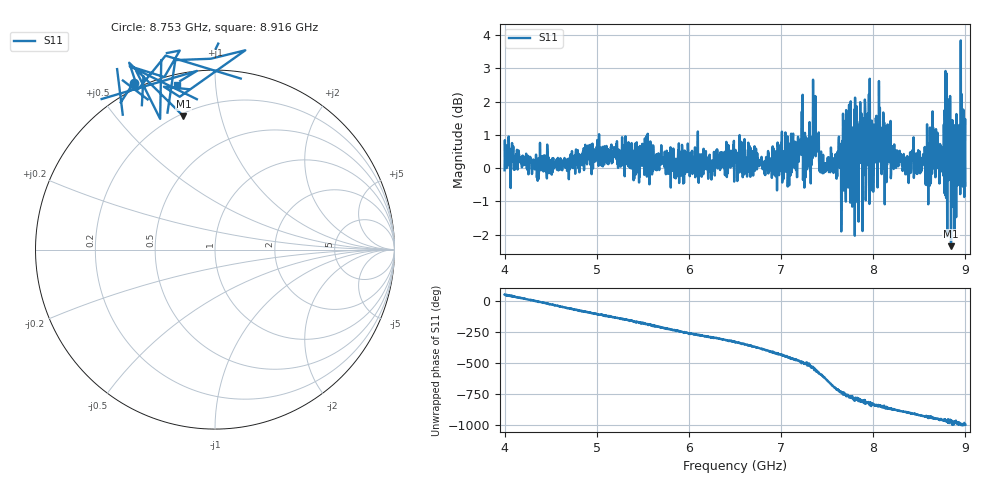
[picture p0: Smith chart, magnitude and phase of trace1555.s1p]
! Created with skrf 1.8.0 (http://scikit-rf.org).
# Hz S RI R 50.0
!freq ReS11 ImS11
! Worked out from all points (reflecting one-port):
!   1601 points, 4 GHz to 9 GHz, reference 50 ohm
!   lowest |S11| = -2.3 dB at 8.844 GHz (marker M1), VSWR 7.45, Z = 10.8 + j38.4 ohm
!   phase of S11 starts at 52 deg and turns -1050 deg over the sweep
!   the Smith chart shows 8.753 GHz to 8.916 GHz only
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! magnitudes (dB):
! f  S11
! 4 GHz  -0.1
! 4.625 GHz  -0.1
! 5.25 GHz  0.1
! 5.875 GHz  0.2
! 6.5 GHz  0.3
! 6.819 GHz  0.2
! 7.125 GHz  0.8
! 7.169 GHz  0.1
! 7.209 GHz  0.5
! 7.262 GHz  0.3
! 7.372 GHz  2.2
! 7.472 GHz  0.1
! 7.75 GHz  -1.0
! 7.784 GHz  -1.0
! 7.8 GHz  -2.0
! 7.891 GHz  0.9
! 7.981 GHz  0.4
! 8.088 GHz  0.5
! 8.375 GHz  0.1
! 8.441 GHz  -0.3
! 8.588 GHz  0.0
! 8.656 GHz  0.4
! 8.738 GHz  0.1
! 8.809 GHz  2.1
! 8.844 GHz  -2.3
! 8.869 GHz  -1.2
! 8.972 GHz  1.2
! 9 GHz  -0.5
